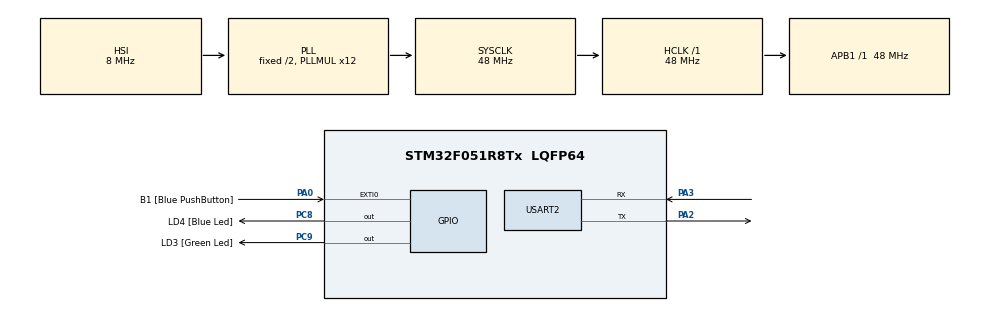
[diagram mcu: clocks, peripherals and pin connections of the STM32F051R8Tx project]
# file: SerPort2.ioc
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Mcu.Family=STM32F0
Mcu.Name=STM32F051R8Tx
Mcu.Package=LQFP64
NVIC.USART2_IRQn=true\:0\:0\:false\:false\:true
PA0.GPIO_Label=B1 [Blue PushButton]
PA0.GPIO_ModeDefaultEXTI=GPIO_MODE_EVT_RISING
PA0.Signal=GPXTI0
PA13.GPIO_Label=SWDIO
PA13.Signal=SYS_SWDIO
PA14.GPIO_Label=SWCLK
PA14.Signal=SYS_SWCLK
PA2.Mode=Asynchronous
PA2.Signal=USART2_TX
PA3.Mode=Asynchronous
PA3.Signal=USART2_RX
PC8.GPIO_Label=LD4 [Blue Led]
PC8.Signal=GPIO_Output
PC9.GPIO_Label=LD3 [Green Led]
PC9.Signal=GPIO_Output
ProjectManager.HeapSize=0x200
ProjectManager.StackSize=0x400
ProjectManager.TargetToolchain=MDK-ARM V5
RCC.AHBFreq_Value=48000000
RCC.APB1Freq_Value=48000000
RCC.APB1TimFreq_Value=48000000
RCC.HCLKFreq_Value=48000000
RCC.PLLMUL=RCC_PLL_MUL12
RCC.SYSCLKFreq_VALUE=48000000
RCC.SYSCLKSource=RCC_SYSCLKSOURCE_PLLCLK
board=STM32F0DISCOVERY

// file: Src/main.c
/**
  ******************************************************************************
  * File Name          : main.c
  * Description        : Main program body
  ******************************************************************************
  *
  * COPYRIGHT(c) 2016 STMicroelectronics
  *
  * Redistribution and use in source and binary forms, with or without modification,
  * are permitted provided that the following conditions are met:
  *   1. Redistributions of source code must retain the above copyright notice,
  *      this list of conditions and the following disclaimer.
  *   2. Redistributions in binary form must reproduce the above copyright notice,
  *      this list of conditions and the following disclaimer in the documentation
  *      and/or other materials provided with the distribution.
  *   3. Neither the name of STMicroelectronics nor the names of its contributors
  *      may be used to endorse or promote products derived from this software
  *      without specific prior written permission.
  *
  * THIS SOFTWARE IS PROVIDED BY THE COPYRIGHT HOLDERS AND CONTRIBUTORS "AS IS"
  * AND ANY EXPRESS OR IMPLIED WARRANTIES, INCLUDING, BUT NOT LIMITED TO, THE
  * IMPLIED WARRANTIES OF MERCHANTABILITY AND FITNESS FOR A PARTICULAR PURPOSE ARE
  * DISCLAIMED. IN NO EVENT SHALL THE COPYRIGHT HOLDER OR CONTRIBUTORS BE LIABLE
  * FOR ANY DIRECT, INDIRECT, INCIDENTAL, SPECIAL, EXEMPLARY, OR CONSEQUENTIAL
  * DAMAGES (INCLUDING, BUT NOT LIMITED TO, PROCUREMENT OF SUBSTITUTE GOODS OR
  * SERVICES; LOSS OF USE, DATA, OR PROFITS; OR BUSINESS INTERRUPTION) HOWEVER
  * CAUSED AND ON ANY THEORY OF LIABILITY, WHETHER IN CONTRACT, STRICT LIABILITY,
  * OR TORT (INCLUDING NEGLIGENCE OR OTHERWISE) ARISING IN ANY WAY OUT OF THE USE
  * OF THIS SOFTWARE, EVEN IF ADVISED OF THE POSSIBILITY OF SUCH DAMAGE.
  *
  ******************************************************************************
  */
#include "stm32f0xx_hal.h"

/* USER CODE BEGIN Includes */
#include "comm.h"
#include <string.h>
/* USER CODE END Includes */

UART_HandleTypeDef huart2;

/* USER CODE BEGIN PV */
/* Private variables ---------------------------------------------------------*/

OUTPUT_MESSAGE_TYPE outmsg;

INPUT_MESSAGE_TYPE  inmsg ;
int inmsgptr=0 ;

/* USER CODE END PV */

void SystemClock_Config(void);
void Error_Handler(void);
static void MX_GPIO_Init(void);
static void MX_USART2_UART_Init(void);

/* USER CODE BEGIN PFP */
/* Private function prototypes -----------------------------------------------*/

/* USER CODE END PFP */

/* USER CODE BEGIN 0 */
uint8_t sequenceno = 56 ;

uint8_t receivedchar = 0 ;

uint8_t receivebuffer[128] ;
uint8_t receivebufptr = 0 ;

/* USER CODE END 0 */

int main(void)
{

  /* MCU Configuration----------------------------------------------------------*/

  /* Reset of all peripherals, Initializes the Flash interface and the Systick. */
  HAL_Init();

  /* Configure the system clock */
  SystemClock_Config();

  /* Initialize all configured peripherals */
  MX_GPIO_Init();
  MX_USART2_UART_Init();

  /* USER CODE BEGIN 2 */
	__HAL_UART_ENABLE_IT(&huart2 , UART_IT_RXNE);
	NVIC_EnableIRQ(USART2_IRQn);
	HAL_UART_Receive_IT(&huart2 , (uint8_t *)&receivedchar , sizeof(receivedchar));

  /* USER CODE END 2 */

  /* Infinite loop */
  /* USER CODE BEGIN WHILE */
	memset(receivebuffer,0,sizeof(receivebuffer)) ;
	memset(&inmsg,0,sizeof(inmsg));
  while (1)
  {
  /* USER CODE END WHILE */

  /* USER CODE BEGIN 3 */
		sequenceno++;
		outmsg.o_myseqno = sequenceno ;
		outmsg.o_yourseqno = receivedchar ;

    HAL_UART_Transmit(&huart2, (uint8_t *)&outmsg , sizeof(outmsg) , 1000);
		HAL_GPIO_TogglePin(GPIOC,LD4_Pin|LD3_Pin);
		HAL_UART_Receive_IT(&huart2 , (uint8_t *)&receivedchar , sizeof(receivedchar));
		HAL_Delay(1000);
  }
  /* USER CODE END 3 */

}

/** System Clock Configuration
*/
void SystemClock_Config(void)
{

  RCC_OscInitTypeDef RCC_OscInitStruct;
  RCC_ClkInitTypeDef RCC_ClkInitStruct;

  RCC_OscInitStruct.OscillatorType = RCC_OSCILLATORTYPE_HSI;
  RCC_OscInitStruct.HSIState = RCC_HSI_ON;
  RCC_OscInitStruct.HSICalibrationValue = 16;
  RCC_OscInitStruct.PLL.PLLState = RCC_PLL_ON;
  RCC_OscInitStruct.PLL.PLLSource = RCC_PLLSOURCE_HSI;
  RCC_OscInitStruct.PLL.PLLMUL = RCC_PLL_MUL12;
  RCC_OscInitStruct.PLL.PREDIV = RCC_PREDIV_DIV1;
  if (HAL_RCC_OscConfig(&RCC_OscInitStruct) != HAL_OK)
  {
    Error_Handler();
  }

  RCC_ClkInitStruct.ClockType = RCC_CLOCKTYPE_HCLK|RCC_CLOCKTYPE_SYSCLK
                              |RCC_CLOCKTYPE_PCLK1;
  RCC_ClkInitStruct.SYSCLKSource = RCC_SYSCLKSOURCE_PLLCLK;
  RCC_ClkInitStruct.AHBCLKDivider = RCC_SYSCLK_DIV1;
  RCC_ClkInitStruct.APB1CLKDivider = RCC_HCLK_DIV1;
  if (HAL_RCC_ClockConfig(&RCC_ClkInitStruct, FLASH_LATENCY_1) != HAL_OK)
  {
    Error_Handler();
  }

  HAL_SYSTICK_Config(HAL_RCC_GetHCLKFreq()/1000);

  HAL_SYSTICK_CLKSourceConfig(SYSTICK_CLKSOURCE_HCLK);

  /* SysTick_IRQn interrupt configuration */
  HAL_NVIC_SetPriority(SysTick_IRQn, 0, 0);
}

/* USART2 init function */
static void MX_USART2_UART_Init(void)
{

  huart2.Instance = USART2;
  huart2.Init.BaudRate = BAUD_RATE;
  huart2.Init.WordLength = UART_WORDLENGTH_8B;
  huart2.Init.StopBits = UART_STOPBITS_1;
  huart2.Init.Parity = UART_PARITY_NONE;
  huart2.Init.Mode = UART_MODE_TX_RX;
  huart2.Init.HwFlowCtl = UART_HWCONTROL_NONE;
  huart2.Init.OverSampling = UART_OVERSAMPLING_16;
  huart2.Init.OneBitSampling = UART_ONE_BIT_SAMPLE_DISABLE;
  huart2.AdvancedInit.AdvFeatureInit = UART_ADVFEATURE_NO_INIT;
  if (HAL_UART_Init(&huart2) != HAL_OK)
  {
    Error_Handler();
  }

}

/** Configure pins as
        * Analog
        * Input
        * Output
        * EVENT_OUT
        * EXTI
*/
static void MX_GPIO_Init(void)
{

  GPIO_InitTypeDef GPIO_InitStruct;

  /* GPIO Ports Clock Enable */
  __HAL_RCC_GPIOA_CLK_ENABLE();
  __HAL_RCC_GPIOC_CLK_ENABLE();

  /*Configure GPIO pin : B1_Pin */
  GPIO_InitStruct.Pin = B1_Pin;
  GPIO_InitStruct.Mode = GPIO_MODE_EVT_RISING;
  GPIO_InitStruct.Pull = GPIO_NOPULL;
  HAL_GPIO_Init(B1_GPIO_Port, &GPIO_InitStruct);

  /*Configure GPIO pins : LD4_Pin LD3_Pin */
  GPIO_InitStruct.Pin = LD4_Pin|LD3_Pin;
  GPIO_InitStruct.Mode = GPIO_MODE_OUTPUT_PP;
  GPIO_InitStruct.Pull = GPIO_NOPULL;
  GPIO_InitStruct.Speed = GPIO_SPEED_FREQ_LOW;
  HAL_GPIO_Init(GPIOC, &GPIO_InitStruct);

  /*Configure GPIO pin Output Level */
  HAL_GPIO_WritePin(GPIOC, LD4_Pin|LD3_Pin, GPIO_PIN_RESET);

}

void Error_Handler(void)
{
  while(1)
  {
  }
}

/************************ (C) COPYRIGHT STMicroelectronics *****END OF FILE****/
